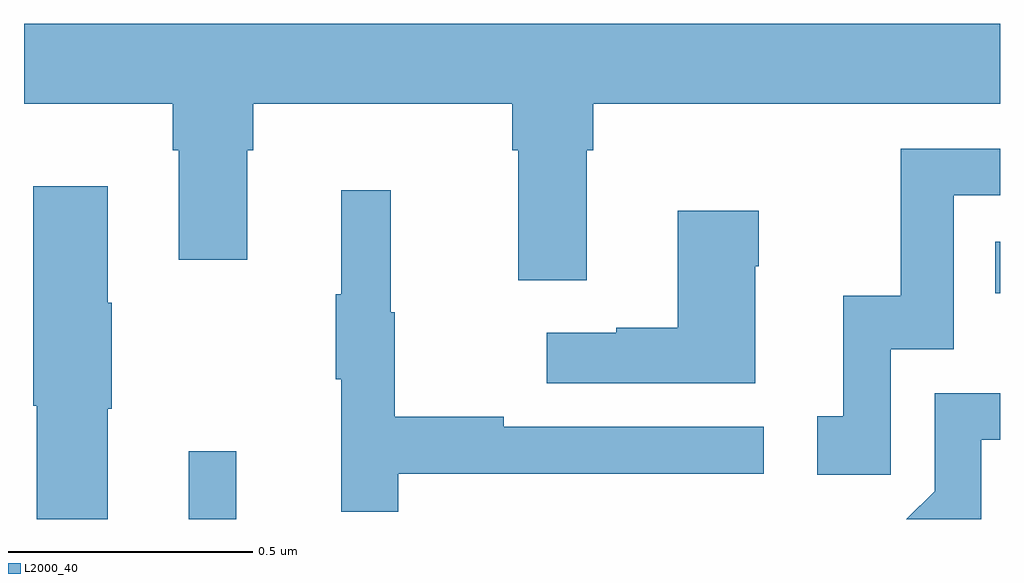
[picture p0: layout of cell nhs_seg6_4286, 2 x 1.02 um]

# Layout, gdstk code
import gdstk
lib = gdstk.Library(unit=1e-6, precision=1e-09)
def R(c, l, rs):  # rectangles x0, y0, x1, y1
    for r in rs: c.add(gdstk.rectangle(r[:2], r[2:], *l))
def P(c, l, *ps):  # polygons
    for p in ps: c.add(gdstk.Polygon(p, *l))
L2000_40 = (2000, 40)

nhs_seg6_4286 = lib.new_cell('nhs_seg6_4286')
R(nhs_seg6_4286, L2000_40, [(168.338,930.5,168.435,930.64), (169.99,930.963,170,931.069)])
P(nhs_seg6_4286, L2000_40, [(169.153,931.256),(169.166,931.256),(169.166,931.352),(170,931.352),(170,931.516),(168,931.516),(168,931.352),(168.305,931.352),(168.305,931.256),(168.317,931.256),(168.317,931.032),(168.457,931.032),(168.457,931.256),(168.47,931.256),(168.47,931.352),(169.001,931.352),(169.001,931.256),(169.013,931.256),(169.013,930.99),(169.153,930.99)],
  [(169.776,930.849),(169.905,930.849),(169.905,931.164),(170,931.164),(170,931.26),(169.797,931.26),(169.797,930.958),(169.679,930.958),(169.679,930.711),(169.626,930.711),(169.626,930.591),(169.776,930.591)],
  [(168.172,930.727),(168.18,930.727),(168.18,930.944),(168.172,930.944),(168.172,931.183),(168.019,931.183),(168.019,930.733),(168.026,930.733),(168.026,930.5),(168.172,930.5)],
  [(168.767,930.594),(169.516,930.594),(169.516,930.69),(168.983,930.69),(168.983,930.71),(168.76,930.71),(168.76,930.924),(168.752,930.924),(168.752,931.174),(168.65,931.174),(168.65,930.961),(168.639,930.961),(168.639,930.787),(168.65,930.787),(168.65,930.516),(168.767,930.516)],
  [(169.498,931.019),(169.506,931.019),(169.506,931.132),(169.34,931.132),(169.34,930.893),(169.214,930.893),(169.214,930.883),(169.071,930.883),(169.071,930.779),(169.498,930.779)],
  [(169.962,930.663),(170,930.663),(170,930.759),(169.866,930.759),(169.866,930.558),(169.808,930.5),(169.962,930.5)])

lib.write_gds('nhs_seg6_4286.gds')
